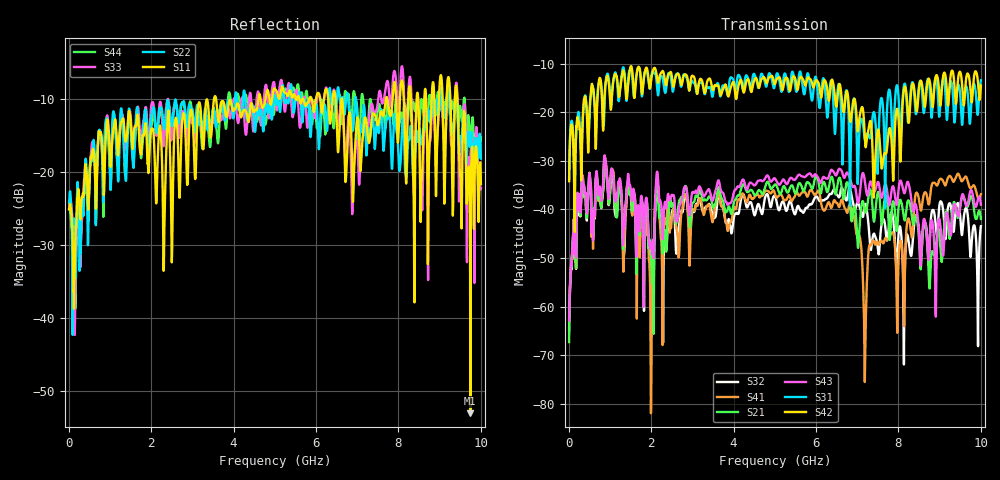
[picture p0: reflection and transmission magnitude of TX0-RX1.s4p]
# Hz S  RI  R 50
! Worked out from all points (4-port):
!   1601 points, 10 MHz to 10 GHz, reference 50 ohm
!   strongest paths, dB at 10 MHz, 2.507 GHz, 5.005 GHz, 7.503 GHz, 10 GHz:
!     S42: -34.2, -13.0, -14.2, -23.6, -14.5
!     S31: -33.7, -14.9, -14.2, -30.6, -13.4
!     S43: -62.8, -37.0, -33.7, -34.3, -39.0
!     S21: -67.3, -38.7, -34.9, -36.5, -42.0
!     S41: -63.0, -41.3, -36.8, -47.0, -36.9
!     S32: -64.9, -40.3, -37.3, -48.3, -43.5
!   lowest |S11| = -53.1 dB at 9.744 GHz (marker M1), VSWR 1.00, Z = 49.9 + j0.183 ohm
!   |S11| at or under -10 dB: start of sweep to 3.528 GHz; 3.573 GHz to 4.602 GHz (1.029 GHz wide, 25.2 % of centre); 6.624 GHz to 7.697 GHz (1.073 GHz wide, 15 % of centre)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
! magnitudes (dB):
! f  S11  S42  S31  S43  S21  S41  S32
! 10 MHz  -25.2  -34.2  -33.7  -62.8  -67.3  -63.0  -64.9
! 896.6 MHz  -15.7  -13.9  -13.8  -30.0  -30.5  -29.9  -30.9
! 2.008 GHz  -14.1  -12.9  -12.5  -47.2  -51.0  -70.0  -49.3
! 2.139 GHz  -22.0  -12.7  -14.3  -32.3  -34.7  -33.4  -34.2
! 7.19 GHz  -12.6  -26.1  -25.8  -34.5  -40.6  -71.1  -38.9
! 9.744 GHz  -53.1  -15.0  -21.6  -36.2  -37.5  -35.6  -49.6
! 10 GHz  -21.7  -14.5  -13.4  -39.0  -42.0  -36.9  -43.5
